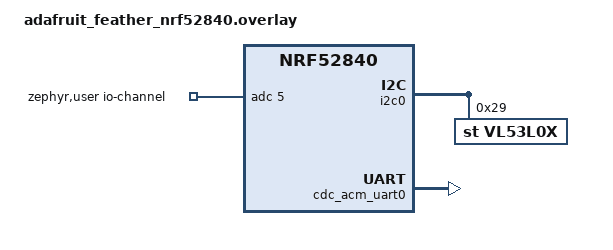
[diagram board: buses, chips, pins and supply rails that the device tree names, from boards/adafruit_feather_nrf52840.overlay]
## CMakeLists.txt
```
cmake_minimum_required(VERSION 3.20.0)
find_package(Zephyr REQUIRED HINTS $ENV{ZEPHYR_BASE})
project(fancypants_nrf52)

if(DEFINED APP_VERSION_STRING)
  add_compile_definitions(APP_VERSION_STRING="${APP_VERSION_STRING}")
endif()

target_sources(app PRIVATE
  src/main.c
  src/range_service.c
  src/battery.c
)
```

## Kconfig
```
# Fancypants nRF52 Configuration

config APP_VERSION_STRING
	string "Application version string"
	default "dev"
	help
	  Version reported in the boot log. The containerized build sets
	  this from git describe.

config RANGE_SAMPLE_INTERVAL_MS
	int "Range sensor sampling interval in milliseconds"
	default 50
	help
	  How often to read from the VL53L0X sensor.
	  50ms = 20Hz update rate. Lower values increase responsiveness
	  but consume more power.

config RANGE_NOTIFY_INTERVAL_MS
	int "BLE notification interval in milliseconds"
	default 50
	help
	  How often to send BLE notifications to the central.
	  Should be >= RANGE_SAMPLE_INTERVAL_MS.

config BATTERY_SAMPLE_INTERVAL_S
	int "Battery level sampling interval in seconds"
	default 60
	help
	  How often to read the battery ADC.

source "Kconfig.zephyr"
```

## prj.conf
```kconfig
# General
CONFIG_LOG=y
CONFIG_LOG_DEFAULT_LEVEL=3

# Bluetooth
CONFIG_BT=y
CONFIG_BT_PERIPHERAL=y
CONFIG_BT_DEVICE_NAME="Fancypants"
CONFIG_BT_DEVICE_APPEARANCE=768
CONFIG_BT_MAX_CONN=1
CONFIG_BT_GATT_DYNAMIC_DB=y

# Battery Service
CONFIG_BT_BAS=y

# I2C
CONFIG_I2C=y

# Sensor subsystem
CONFIG_SENSOR=y
CONFIG_VL53L0X=y

# ADC for battery voltage
CONFIG_ADC=y

# USB CDC ACM for console output (Feather has no UART-to-USB chip)
CONFIG_USB_DEVICE_STACK=y
CONFIG_SERIAL=y
CONFIG_CONSOLE=y
CONFIG_UART_CONSOLE=y
CONFIG_UART_LINE_CTRL=y
CONFIG_USB_DEVICE_INITIALIZE_AT_BOOT=y

# UF2 output for drag-and-drop flashing via Feather bootloader
CONFIG_BUILD_OUTPUT_UF2=y

# Custom sampling intervals
CONFIG_RANGE_SAMPLE_INTERVAL_MS=50
CONFIG_RANGE_NOTIFY_INTERVAL_MS=50
CONFIG_BATTERY_SAMPLE_INTERVAL_S=60
```

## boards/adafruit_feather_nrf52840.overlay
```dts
/*
 * Devicetree overlay for Adafruit Feather nRF52840 Express
 *
 * Adds VL53L0X ToF sensor on I2C0 (SDA=P0.12, SCL=P0.11)
 * These are the default I2C pins on the Feather.
 *
 * The Adafruit VL53L0X breakout includes 10K pullups on SDA/SCL
 * and a voltage regulator, so it works directly from the Feather 3V pin.
 *
 * Wiring:
 *   Feather 3V  -> VL53L0X VIN
 *   Feather GND -> VL53L0X GND
 *   Feather SDA -> VL53L0X SDA
 *   Feather SCL -> VL53L0X SCL
 *
 * If using STEMMA QT / Qwiic cable: just plug it in.
 */

&i2c0 {
	status = "okay";

	vl53l0x: vl53l0x@29 {
		compatible = "st,vl53l0x";
		reg = <0x29>;
		status = "okay";
	};
};

/* Enable ADC for battery voltage reading on P0.29 (VBAT/2 divider) and
 * route console output to USB CDC ACM (/dev/ttyACM0)
 */
/ {
	chosen {
		zephyr,console = &cdc_acm_uart0;
	};

	zephyr,user {
		io-channels = <&adc 5>;
	};
};

&zephyr_udc0 {
	cdc_acm_uart0: cdc_acm_uart0 {
		compatible = "zephyr,cdc-acm-uart";
	};
};
```

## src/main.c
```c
/*
 * Fancypants nRF52 BLE Peripheral
 *
 * Reads distance from a VL53L0X time-of-flight sensor via I2C and
 * broadcasts it over BLE using a custom GATT service. Also reports
 * battery level via the standard Battery Service (BAS).
 *
 * Target: Adafruit Feather nRF52840 Express
 * Sensor: Adafruit VL53L0X breakout (I2C addr 0x29)
 *
 * BLE Services:
 *   - Custom Range Service (notify distance_mm + config)
 *   - Battery Service (BAS, standard)
 *   - Device Information Service (optional, via Kconfig)
 */

#include <zephyr/bluetooth/bluetooth.h>
#include <zephyr/bluetooth/gap.h>
#include <zephyr/bluetooth/gatt.h>
#include <zephyr/bluetooth/services/bas.h>
#include <zephyr/device.h>
#include <zephyr/drivers/sensor.h>
#include <zephyr/kernel.h>
#include <zephyr/logging/log.h>

#include "battery.h"
#include "range_service.h"

LOG_MODULE_REGISTER(main, LOG_LEVEL_INF);

/* VL53L0X device from devicetree */
static const struct device *range_sensor;

/* Connection state */
static struct bt_conn *current_conn;

/* Advertising data */
static const struct bt_data ad[] = {
    BT_DATA_BYTES(BT_DATA_FLAGS, (BT_LE_AD_GENERAL | BT_LE_AD_NO_BREDR)),
    BT_DATA_BYTES(BT_DATA_UUID128_ALL, RANGE_SERVICE_UUID_VAL),
};

/* Scan response - device name */
static const struct bt_data sd[] = {
    BT_DATA(BT_DATA_NAME_COMPLETE, CONFIG_BT_DEVICE_NAME, sizeof(CONFIG_BT_DEVICE_NAME) - 1),
};

/* BLE connection callbacks */
static void connected(struct bt_conn *conn, uint8_t err)
{
	if (err) {
		LOG_ERR("Connection failed (err %u)", err);
		return;
	}

	LOG_INF("Connected");
	current_conn = bt_conn_ref(conn);
}

static void disconnected(struct bt_conn *conn, uint8_t reason)
{
	LOG_INF("Disconnected (reason %u)", reason);

	if (current_conn) {
		bt_conn_unref(current_conn);
		current_conn = NULL;
	}

	/* Restart advertising */
	int err = bt_le_adv_start(BT_LE_ADV_CONN, ad, ARRAY_SIZE(ad), sd, ARRAY_SIZE(sd));
	if (err) {
		LOG_ERR("Advertising restart failed (err %d)", err);
	}
}

BT_CONN_CB_DEFINE(conn_callbacks) = {
    .connected = connected,
    .disconnected = disconnected,
};

/* Read VL53L0X and return distance in mm, or negative on error */
static int read_range_mm(void)
{
	struct sensor_value val;
	int ret;

	ret = sensor_sample_fetch(range_sensor);
	if (ret < 0) {
		LOG_WRN("Sensor fetch failed: %d", ret);
		return ret;
	}

	ret = sensor_channel_get(range_sensor, SENSOR_CHAN_DISTANCE, &val);
	if (ret < 0) {
		LOG_WRN("Sensor channel get failed: %d", ret);
		return ret;
	}

	/*
	 * Zephyr's VL53L0X driver returns distance in meters as
	 * a sensor_value (val1 = integer meters, val2 = fractional in
	 * millionths). Convert to mm.
	 */
	int distance_mm = val.val1 * 1000 + val.val2 / 1000;

	return distance_mm;
}

/* Sensor polling thread */
static void sensor_thread_fn(void *p1, void *p2, void *p3)
{
	ARG_UNUSED(p1);
	ARG_UNUSED(p2);
	ARG_UNUSED(p3);

	LOG_INF("Sensor thread started");

	while (1) {
		struct range_config cfg = range_service_get_config();

		int distance = read_range_mm();
		if (distance >= 0) {
			/* Clamp to configured range */
			uint16_t clamped = (uint16_t)distance;
			if (clamped < cfg.min_range_mm) {
				clamped = cfg.min_range_mm;
			}
			if (clamped > cfg.max_range_mm) {
				clamped = cfg.max_range_mm;
			}

			range_service_update(clamped);
		}

		k_msleep(cfg.sample_interval_ms);
	}
}

/* Battery monitoring thread */
static void battery_thread_fn(void *p1, void *p2, void *p3)
{
	ARG_UNUSED(p1);
	ARG_UNUSED(p2);
	ARG_UNUSED(p3);

	LOG_INF("Battery thread started");

	while (1) {
		int mv = battery_read_mv();
		if (mv > 0) {
			uint8_t pct = battery_mv_to_pct(mv);
			bt_bas_set_battery_level(pct);
			LOG_DBG("Battery: %dmV (%u%%)", mv, pct);
		}

		k_sleep(K_SECONDS(CONFIG_BATTERY_SAMPLE_INTERVAL_S));
	}
}

/* Thread stacks */
K_THREAD_STACK_DEFINE(sensor_stack, 2048);
K_THREAD_STACK_DEFINE(battery_stack, 1024);

static struct k_thread sensor_thread;
static struct k_thread battery_thread;

int main(void)
{
	int err;

	LOG_INF("Fancypants nRF52 %s starting...", CONFIG_APP_VERSION_STRING);

	/* Get VL53L0X device */
	range_sensor = DEVICE_DT_GET_ONE(st_vl53l0x);
	if (!device_is_ready(range_sensor)) {
		LOG_ERR("VL53L0X sensor not ready");
		return -ENODEV;
	}
	LOG_INF("VL53L0X sensor ready");

	/* Initialize battery ADC */
	err = battery_init();
	if (err) {
		LOG_WRN("Battery init failed: %d (continuing without battery)", err);
	}

	/* Initialize custom range service */
	err = range_service_init();
	if (err) {
		LOG_ERR("Range service init failed: %d", err);
		return err;
	}

	/* Enable Bluetooth */
	err = bt_enable(NULL);
	if (err) {
		LOG_ERR("Bluetooth init failed: %d", err);
		return err;
	}
	LOG_INF("Bluetooth initialized");

	/* Start advertising */
	err = bt_le_adv_start(BT_LE_ADV_CONN, ad, ARRAY_SIZE(ad), sd, ARRAY_SIZE(sd));
	if (err) {
		LOG_ERR("Advertising failed to start: %d", err);
		return err;
	}
	LOG_INF("Advertising as \"%s\"", CONFIG_BT_DEVICE_NAME);

	/* Spawn worker threads */
	k_thread_create(&sensor_thread, sensor_stack, K_THREAD_STACK_SIZEOF(sensor_stack),
			sensor_thread_fn, NULL, NULL, NULL, K_PRIO_COOP(7), 0, K_NO_WAIT);
	k_thread_name_set(&sensor_thread, "sensor");

	k_thread_create(&battery_thread, battery_stack, K_THREAD_STACK_SIZEOF(battery_stack),
			battery_thread_fn, NULL, NULL, NULL, K_PRIO_PREEMPT(10), 0, K_NO_WAIT);
	k_thread_name_set(&battery_thread, "battery");

	LOG_INF("Fancypants nRF52 running");

	return 0;
}
```

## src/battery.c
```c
#include "battery.h"

#include <zephyr/drivers/adc.h>
#include <zephyr/kernel.h>
#include <zephyr/logging/log.h>

LOG_MODULE_REGISTER(battery, LOG_LEVEL_INF);

/*
 * Adafruit Feather nRF52840 has a voltage divider on the VBAT pin:
 *   VBAT --- [100K] --- ADC (P0.29, AIN5) --- [100K] --- GND
 *
 * So ADC reads VBAT / 2. We need to multiply by 2 to get actual voltage.
 * nRF52840 ADC internal reference = 0.6V, gain 1/6 = 3.6V full scale.
 */

#define ADC_RESOLUTION 12
#define ADC_GAIN ADC_GAIN_1_6
#define ADC_REFERENCE ADC_REF_INTERNAL /* 0.6V */
#define ADC_CHANNEL 5		       /* AIN5 = P0.29 */
#define DIVIDER_RATIO 2		       /* VBAT/2 resistor divider */

/* Full scale voltage in mV: 0.6V * 6 (gain) = 3.6V = 3600mV */
#define ADC_FULL_SCALE_MV 3600

static const struct device *adc_dev;
static int16_t adc_buffer;

static struct adc_channel_cfg channel_cfg = {
    .gain = ADC_GAIN,
    .reference = ADC_REFERENCE,
    .acquisition_time = ADC_ACQ_TIME(ADC_ACQ_TIME_MICROSECONDS, 40),
    .channel_id = ADC_CHANNEL,
#if defined(CONFIG_ADC_NRFX_SAADC)
    .input_positive = SAADC_CH_PSELP_PSELP_AnalogInput5,
#endif
};

static struct adc_sequence sequence = {
    .channels = BIT(ADC_CHANNEL),
    .buffer = &adc_buffer,
    .buffer_size = sizeof(adc_buffer),
    .resolution = ADC_RESOLUTION,
};

int battery_init(void)
{
	adc_dev = DEVICE_DT_GET(DT_NODELABEL(adc));
	if (!device_is_ready(adc_dev)) {
		LOG_ERR("ADC device not ready");
		return -ENODEV;
	}

	int ret = adc_channel_setup(adc_dev, &channel_cfg);
	if (ret < 0) {
		LOG_ERR("ADC channel setup failed: %d", ret);
		return ret;
	}

	LOG_INF("Battery ADC initialized on AIN%d", ADC_CHANNEL);
	return 0;
}

int battery_read_mv(void)
{
	int ret = adc_read(adc_dev, &sequence);
	if (ret < 0) {
		LOG_ERR("ADC read failed: %d", ret);
		return ret;
	}

	/* Convert raw ADC to millivolts */
	int32_t mv = adc_buffer;

	/* Handle negative values from SAADC offset */
	if (mv < 0) {
		mv = 0;
	}

	/* Scale: (raw / 4096) * 3600mV * 2 (divider) */
	mv = (mv * ADC_FULL_SCALE_MV * DIVIDER_RATIO) / (1 << ADC_RESOLUTION);

	return (int)mv;
}

uint8_t battery_mv_to_pct(int mv)
{
	/* LiPo discharge curve approximation (single-cell 3.7V nominal) */
	if (mv >= 4200) {
		return 100;
	} else if (mv >= 4100) {
		/* 4200-4100: 100-90% */
		return 90 + (mv - 4100) * 10 / 100;
	} else if (mv >= 3800) {
		/* 4100-3800: 90-50% */
		return 50 + (mv - 3800) * 40 / 300;
	} else if (mv >= 3600) {
		/* 3800-3600: 50-20% */
		return 20 + (mv - 3600) * 30 / 200;
	} else if (mv >= 3300) {
		/* 3600-3300: 20-0% */
		return (mv - 3300) * 20 / 300;
	} else {
		return 0;
	}
}
```

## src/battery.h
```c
#ifndef BATTERY_H
#define BATTERY_H

#include <zephyr/types.h>

#ifdef __cplusplus
extern "C" {
#endif

/**
 * @brief Initialize battery ADC reading.
 * @return 0 on success, negative errno on failure.
 */
int battery_init(void);

/**
 * @brief Read current battery voltage in millivolts.
 * @return Battery voltage in mV, or negative errno on failure.
 */
int battery_read_mv(void);

/**
 * @brief Convert millivolt reading to percentage (0-100).
 *
 * Uses a LiPo discharge curve approximation:
 *   4200mV = 100%, 3700mV = 50%, 3300mV = 0%
 *
 * @param mv Battery voltage in millivolts.
 * @return Percentage 0-100.
 */
uint8_t battery_mv_to_pct(int mv);

#ifdef __cplusplus
}
#endif

#endif /* BATTERY_H */
```

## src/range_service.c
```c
#include "range_service.h"

#include <zephyr/bluetooth/bluetooth.h>
#include <zephyr/bluetooth/gatt.h>
#include <zephyr/kernel.h>
#include <zephyr/logging/log.h>
#include <zephyr/sys/byteorder.h>

LOG_MODULE_REGISTER(range_svc, LOG_LEVEL_INF);

/* Current range reading (atomic-sized, read/written under config_lock) */
static uint16_t current_range_mm;

/* Protects active_config against concurrent BLE writes and sensor thread reads */
static K_MUTEX_DEFINE(config_mutex);

/* Active configuration - defaults match prj.conf */
static struct range_config active_config = {
    .sample_interval_ms = CONFIG_RANGE_SAMPLE_INTERVAL_MS,
    .notify_interval_ms = CONFIG_RANGE_NOTIFY_INTERVAL_MS,
    .max_range_mm = 1200, /* VL53L0X max useful range */
    .min_range_mm = 30,	  /* VL53L0X min range */
};

/* Track CCC subscription state */
static bool range_notify_enabled;

/* Uptime of the last notification sent, for notify_interval_ms rate limiting */
static int64_t last_notify_uptime_ms;

/* CCC changed callback */
static void range_ccc_changed(const struct bt_gatt_attr *attr, uint16_t value)
{
	range_notify_enabled = (value == BT_GATT_CCC_NOTIFY);
	LOG_INF("Range notifications %s", range_notify_enabled ? "enabled" : "disabled");
}

/* Read handler for range characteristic */
static ssize_t read_range(struct bt_conn *conn, const struct bt_gatt_attr *attr, void *buf,
			  uint16_t len, uint16_t offset)
{
	uint16_t wire_mm = sys_cpu_to_le16(current_range_mm);
	return bt_gatt_attr_read(conn, attr, buf, len, offset, &wire_mm, sizeof(wire_mm));
}

/* Read handler for config characteristic */
static ssize_t read_config(struct bt_conn *conn, const struct bt_gatt_attr *attr, void *buf,
			   uint16_t len, uint16_t offset)
{
	struct range_config wire_cfg;

	k_mutex_lock(&config_mutex, K_FOREVER);
	wire_cfg.sample_interval_ms = sys_cpu_to_le16(active_config.sample_interval_ms);
	wire_cfg.notify_interval_ms = sys_cpu_to_le16(active_config.notify_interval_ms);
	wire_cfg.max_range_mm = sys_cpu_to_le16(active_config.max_range_mm);
	wire_cfg.min_range_mm = sys_cpu_to_le16(active_config.min_range_mm);
	k_mutex_unlock(&config_mutex);

	return bt_gatt_attr_read(conn, attr, buf, len, offset, &wire_cfg, sizeof(wire_cfg));
}

/* Write handler for config characteristic */
static ssize_t write_config(struct bt_conn *conn, const struct bt_gatt_attr *attr, const void *buf,
			    uint16_t len, uint16_t offset, uint8_t flags)
{
	if (offset != 0) {
		return BT_GATT_ERR(BT_ATT_ERR_INVALID_OFFSET);
	}

	if (len != sizeof(struct range_config)) {
		return BT_GATT_ERR(BT_ATT_ERR_INVALID_ATTRIBUTE_LEN);
	}

	const uint8_t *bytes = buf;
	struct range_config new_config = {
	    .sample_interval_ms = sys_get_le16(&bytes[0]),
	    .notify_interval_ms = sys_get_le16(&bytes[2]),
	    .max_range_mm = sys_get_le16(&bytes[4]),
	    .min_range_mm = sys_get_le16(&bytes[6]),
	};

	/* Validate ranges */
	if (new_config.sample_interval_ms < 10 || new_config.sample_interval_ms > 5000) {
		LOG_WRN("Rejected config: sample_interval_ms=%u out of range",
			new_config.sample_interval_ms);
		return BT_GATT_ERR(BT_ATT_ERR_VALUE_NOT_ALLOWED);
	}

	if (new_config.notify_interval_ms < 10 || new_config.notify_interval_ms > 5000) {
		LOG_WRN("Rejected config: notify_interval_ms=%u out of range",
			new_config.notify_interval_ms);
		return BT_GATT_ERR(BT_ATT_ERR_VALUE_NOT_ALLOWED);
	}

	if (new_config.min_range_mm >= new_config.max_range_mm) {
		LOG_WRN("Rejected config: min_range >= max_range");
		return BT_GATT_ERR(BT_ATT_ERR_VALUE_NOT_ALLOWED);
	}

	k_mutex_lock(&config_mutex, K_FOREVER);
	active_config = new_config;
	k_mutex_unlock(&config_mutex);

	LOG_INF("Config updated: sample=%ums notify=%ums range=[%u-%u]mm",
		new_config.sample_interval_ms, new_config.notify_interval_ms,
		new_config.min_range_mm, new_config.max_range_mm);

	return len;
}

/* GATT Service Declaration */
BT_GATT_SERVICE_DEFINE(
    range_svc, BT_GATT_PRIMARY_SERVICE(RANGE_SERVICE_UUID),

    /* Range measurement: read + notify */
    BT_GATT_CHARACTERISTIC(RANGE_CHAR_UUID, BT_GATT_CHRC_READ | BT_GATT_CHRC_NOTIFY,
			   BT_GATT_PERM_READ, read_range, NULL, &current_range_mm),
    BT_GATT_CCC(range_ccc_changed, BT_GATT_PERM_READ | BT_GATT_PERM_WRITE),

    /* Configuration: read + write */
    BT_GATT_CHARACTERISTIC(RANGE_CONFIG_CHAR_UUID, BT_GATT_CHRC_READ | BT_GATT_CHRC_WRITE,
			   BT_GATT_PERM_READ | BT_GATT_PERM_WRITE, read_config, write_config,
			   &active_config), );

int range_service_init(void)
{
	LOG_INF("Range Service initialized");
	return 0;
}

int range_service_update(uint16_t distance_mm)
{
	current_range_mm = distance_mm;

	if (!range_notify_enabled) {
		return 0;
	}

	k_mutex_lock(&config_mutex, K_FOREVER);
	uint16_t notify_interval_ms = active_config.notify_interval_ms;
	k_mutex_unlock(&config_mutex);

	/* Rate-limit notifications independently of the sampling rate */
	int64_t now = k_uptime_get();
	if (now - last_notify_uptime_ms < notify_interval_ms) {
		return 0;
	}
	last_notify_uptime_ms = now;

	uint16_t wire_mm = sys_cpu_to_le16(current_range_mm);
	return bt_gatt_notify(NULL, &range_svc.attrs[1], &wire_mm, sizeof(wire_mm));
}

struct range_config range_service_get_config(void)
{
	struct range_config copy;

	k_mutex_lock(&config_mutex, K_FOREVER);
	copy = active_config;
	k_mutex_unlock(&config_mutex);

	return copy;
}
```

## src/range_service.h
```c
#ifndef RANGE_SERVICE_H
#define RANGE_SERVICE_H

#include <zephyr/bluetooth/conn.h>
#include <zephyr/bluetooth/gatt.h>
#include <zephyr/bluetooth/uuid.h>
#include <zephyr/types.h>

#ifdef __cplusplus
extern "C" {
#endif

/*
 * Custom Range Service
 *
 * UUID base: 00000000-7272-6e67-6669-6e6465720000
 *            (ASCII "rrngfinder" embedded)
 *
 * Service UUID:       00000001-7272-6e67-6669-6e6465720000
 * Range Char UUID:    00000002-7272-6e67-6669-6e6465720000
 *   - Notify: uint16_t distance in mm (little-endian)
 *   - Read:   last known distance in mm
 * Config Char UUID:   00000003-7272-6e67-6669-6e6465720000
 *   - Read/Write: configuration struct
 */

/* Service UUID */
#define RANGE_SERVICE_UUID_VAL                                                                     \
	BT_UUID_128_ENCODE(0x00000001, 0x7272, 0x6e67, 0x6669, 0x6e6465720000)
#define RANGE_SERVICE_UUID BT_UUID_DECLARE_128(RANGE_SERVICE_UUID_VAL)

/* Range measurement characteristic */
#define RANGE_CHAR_UUID_VAL BT_UUID_128_ENCODE(0x00000002, 0x7272, 0x6e67, 0x6669, 0x6e6465720000)
#define RANGE_CHAR_UUID BT_UUID_DECLARE_128(RANGE_CHAR_UUID_VAL)

/* Configuration characteristic */
#define RANGE_CONFIG_CHAR_UUID_VAL                                                                 \
	BT_UUID_128_ENCODE(0x00000003, 0x7272, 0x6e67, 0x6669, 0x6e6465720000)
#define RANGE_CONFIG_CHAR_UUID BT_UUID_DECLARE_128(RANGE_CONFIG_CHAR_UUID_VAL)

/* Configuration struct written/read via BLE */
struct range_config {
	uint16_t sample_interval_ms; /* sensor polling rate */
	uint16_t notify_interval_ms; /* BLE notification rate */
	uint16_t max_range_mm;	     /* clamp: ignore readings above this */
	uint16_t min_range_mm;	     /* clamp: ignore readings below this */
} __packed;

/**
 * @brief Initialize the Range Service and register GATT attributes.
 * @return 0 on success, negative errno on failure.
 */
int range_service_init(void);

/**
 * @brief Update the range measurement and send notification if subscribed.
 * @param distance_mm Distance in millimeters from the VL53L0X.
 * @return 0 on success, negative errno on failure.
 */
int range_service_update(uint16_t distance_mm);

/**
 * @brief Get a snapshot of the current configuration.
 * @return Active configuration struct.
 */
struct range_config range_service_get_config(void);

#ifdef __cplusplus
}
#endif

#endif /* RANGE_SERVICE_H */
```
